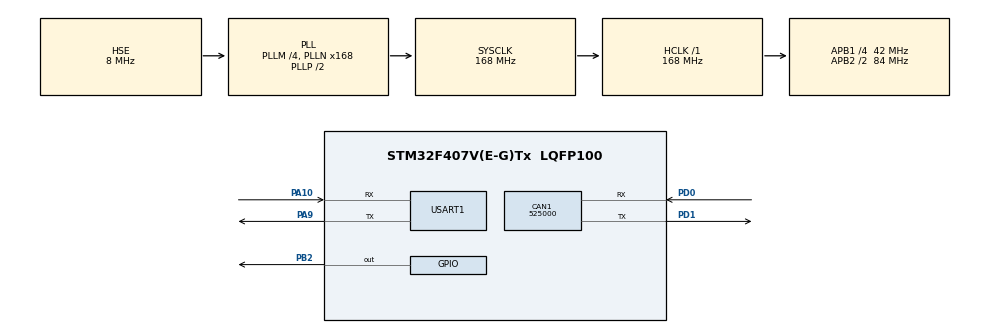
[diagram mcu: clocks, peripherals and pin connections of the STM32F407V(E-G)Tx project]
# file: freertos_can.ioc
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CAN1.AWUM=ENABLE
CAN1.BS1=CAN_BS1_2TQ
CAN1.BS2=CAN_BS2_2TQ
CAN1.CalculateBaudRate=525000
CAN1.CalculateTimeBit=1904
CAN1.CalculateTimeQuantum=380.95238095238096
CAN1.Mode=CAN_MODE_LOOPBACK
FREERTOS.Tasks01=defaultTask,0,128,StartDefaultTask,Default,NULL,Dynamic,NULL,NULL;nTaskCANSend,-2,128,TaskCANSend,Default,NULL,Dynamic,NULL,NULL;nTaskCANReceive,-1,256,TaskCANReceive,Default,TaskCANReceiveParam,Dynamic,NULL,NULL
FREERTOS.configENABLE_FPU=1
FREERTOS.configMAX_PRIORITIES=32
FREERTOS.configMAX_TASK_NAME_LEN=32
Mcu.Family=STM32F4
Mcu.Name=STM32F407V(E-G)Tx
Mcu.Package=LQFP100
NVIC.CAN1_RX0_IRQn=true\:5\:0\:false\:false\:true\:true\:true\:true\:true
NVIC.CAN1_RX1_IRQn=true\:5\:0\:false\:false\:true\:true\:true\:true\:true
NVIC.PriorityGroup=NVIC_PRIORITYGROUP_4
NVIC.TIM1_UP_TIM10_IRQn=true\:15\:0\:false\:false\:true\:false\:false\:true\:true
NVIC.TimeBase=TIM1_UP_TIM10_IRQn
NVIC.TimeBaseIP=TIM1
NVIC.USART1_IRQn=true\:5\:0\:false\:false\:true\:true\:true\:true\:true
PA10.Mode=Asynchronous
PA10.Signal=USART1_RX
PA13.Mode=Serial_Wire
PA13.Signal=SYS_JTMS-SWDIO
PA14.Mode=Serial_Wire
PA14.Signal=SYS_JTCK-SWCLK
PA9.Mode=Asynchronous
PA9.Signal=USART1_TX
PB2.Signal=GPIO_Output
PC14-OSC32_IN.Mode=LSE-External-Oscillator
PC14-OSC32_IN.Signal=RCC_OSC32_IN
PC15-OSC32_OUT.Mode=LSE-External-Oscillator
PC15-OSC32_OUT.Signal=RCC_OSC32_OUT
PD0.Mode=CAN_Activate
PD0.Signal=CAN1_RX
PD1.Mode=CAN_Activate
PD1.Signal=CAN1_TX
PH0-OSC_IN.Mode=HSE-External-Oscillator
PH0-OSC_IN.Signal=RCC_OSC_IN
PH1-OSC_OUT.Mode=HSE-External-Oscillator
PH1-OSC_OUT.Signal=RCC_OSC_OUT
ProjectManager.HeapSize=0x200
ProjectManager.StackSize=0x400
ProjectManager.TargetToolchain=MDK-ARM V5.32
RCC.48MHZClocksFreq_Value=84000000
RCC.AHBFreq_Value=168000000
RCC.APB1CLKDivider=RCC_HCLK_DIV4
RCC.APB1Freq_Value=42000000
RCC.APB1TimFreq_Value=84000000
RCC.APB2CLKDivider=RCC_HCLK_DIV2
RCC.APB2Freq_Value=84000000
RCC.APB2TimFreq_Value=168000000
RCC.CortexFreq_Value=168000000
RCC.HCLKFreq_Value=168000000
RCC.HSE_VALUE=8000000
RCC.HSI_VALUE=16000000
RCC.PLLM=4
RCC.PLLN=168
RCC.PLLSourceVirtual=RCC_PLLSOURCE_HSE
RCC.SYSCLKFreq_VALUE=168000000
RCC.SYSCLKSource=RCC_SYSCLKSOURCE_PLLCLK
RCC.VCOOutputFreq_Value=336000000
USART1.VirtualMode=VM_ASYNC
VP_FREERTOS_VS_CMSIS_V1.Mode=CMSIS_V1
VP_SYS_VS_tim1.Mode=TIM1
board=custom

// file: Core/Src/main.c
/* USER CODE BEGIN Header */
/**
  ******************************************************************************
  * @file           : main.c
  * @brief          : Main program body
  ******************************************************************************
  * @attention
  *
  * Copyright (c) 2025 STMicroelectronics.
  * All rights reserved.
  *
  * This software is licensed under terms that can be found in the LICENSE file
  * in the root directory of this software component.
  * If no LICENSE file comes with this software, it is provided AS-IS.
  *
  ******************************************************************************
  */
/* USER CODE END Header */
#include "main.h"
#include "cmsis_os.h"
#include "can.h"
#include "usart.h"
#include "gpio.h"

void SystemClock_Config(void);
void MX_FREERTOS_Init(void);

int main(void)
{

  /* MCU Configuration--------------------------------------------------------*/

  /* Reset of all peripherals, Initializes the Flash interface and the Systick. */
  HAL_Init();

  /* Configure the system clock */
  SystemClock_Config();

  /* Initialize all configured peripherals */
  MX_GPIO_Init();
  MX_USART1_UART_Init();
  MX_CAN1_Init();
  /* USER CODE BEGIN 2 */
	CAN_Filter_Mask_Config(&hcan1,0x0001,CAN_FILTER_FIFO0,0x7ff,0x7f0); //配置CAN1的过滤器掩码

	My_CAN1_Init();//初始化CAN1模块，并启动中断
	CAN_FreeRTOS_Init();

  /* USER CODE END 2 */

  /* Call init function for freertos objects (in cmsis_os2.c) */
  MX_FREERTOS_Init();

  /* Start scheduler */
  osKernelStart();

  /* We should never get here as control is now taken by the scheduler */

  /* Infinite loop */
  while (1)
  {

  }
}

void SystemClock_Config(void)
{
  RCC_OscInitTypeDef RCC_OscInitStruct = {0};
  RCC_ClkInitTypeDef RCC_ClkInitStruct = {0};

  /** Configure the main internal regulator output voltage
  */
  __HAL_RCC_PWR_CLK_ENABLE();
  __HAL_PWR_VOLTAGESCALING_CONFIG(PWR_REGULATOR_VOLTAGE_SCALE1);

  /** Initializes the RCC Oscillators according to the specified parameters
  * in the RCC_OscInitTypeDef structure.
  */
  RCC_OscInitStruct.OscillatorType = RCC_OSCILLATORTYPE_HSE;
  RCC_OscInitStruct.HSEState = RCC_HSE_ON;
  RCC_OscInitStruct.PLL.PLLState = RCC_PLL_ON;
  RCC_OscInitStruct.PLL.PLLSource = RCC_PLLSOURCE_HSE;
  RCC_OscInitStruct.PLL.PLLM = 4;
  RCC_OscInitStruct.PLL.PLLN = 168;
  RCC_OscInitStruct.PLL.PLLP = RCC_PLLP_DIV2;
  RCC_OscInitStruct.PLL.PLLQ = 4;
  if (HAL_RCC_OscConfig(&RCC_OscInitStruct) != HAL_OK)
  {
    Error_Handler();
  }

  /** Initializes the CPU, AHB and APB buses clocks
  */
  RCC_ClkInitStruct.ClockType = RCC_CLOCKTYPE_HCLK|RCC_CLOCKTYPE_SYSCLK
                              |RCC_CLOCKTYPE_PCLK1|RCC_CLOCKTYPE_PCLK2;
  RCC_ClkInitStruct.SYSCLKSource = RCC_SYSCLKSOURCE_PLLCLK;
  RCC_ClkInitStruct.AHBCLKDivider = RCC_SYSCLK_DIV1;
  RCC_ClkInitStruct.APB1CLKDivider = RCC_HCLK_DIV4;
  RCC_ClkInitStruct.APB2CLKDivider = RCC_HCLK_DIV2;

  if (HAL_RCC_ClockConfig(&RCC_ClkInitStruct, FLASH_LATENCY_5) != HAL_OK)
  {
    Error_Handler();
  }
}

void HAL_TIM_PeriodElapsedCallback(TIM_HandleTypeDef *htim)
{
  if (htim->Instance == TIM1)
  {
    HAL_IncTick();
  }
}

void Error_Handler(void)
{
  __disable_irq();
  while (1)
  {
  }
}

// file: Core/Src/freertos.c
/* USER CODE BEGIN Header */
/**
  ******************************************************************************
  * File Name          : freertos.c
  * Description        : Code for freertos applications
  ******************************************************************************
  * @attention
  *
  * Copyright (c) 2025 STMicroelectronics.
  * All rights reserved.
  *
  * This software is licensed under terms that can be found in the LICENSE file
  * in the root directory of this software component.
  * If no LICENSE file comes with this software, it is provided AS-IS.
  *
  ******************************************************************************
  */
/* USER CODE END Header */

#include "FreeRTOS.h"
#include "task.h"
#include "main.h"
#include "cmsis_os.h"

/* USER CODE BEGIN Includes */
#include "can.h"
#include "stdio.h"
/* USER CODE END Includes */

osThreadId defaultTaskHandle;
osThreadId nTaskCANSendHandle;
osThreadId nTaskCANReceiveHandle;

void StartDefaultTask(void const * argument);
void TaskCANSend(void const * argument);
void TaskCANReceive(void const * argument);

void MX_FREERTOS_Init(void); /* (MISRA C 2004 rule 8.1) */

/* GetIdleTaskMemory prototype (linked to static allocation support) */
void vApplicationGetIdleTaskMemory( StaticTask_t **ppxIdleTaskTCBBuffer, StackType_t **ppxIdleTaskStackBuffer, uint32_t *pulIdleTaskStackSize );

/* USER CODE BEGIN GET_IDLE_TASK_MEMORY */
static StaticTask_t xIdleTaskTCBBuffer;
static StackType_t xIdleStack[configMINIMAL_STACK_SIZE];

void vApplicationGetIdleTaskMemory( StaticTask_t **ppxIdleTaskTCBBuffer, StackType_t **ppxIdleTaskStackBuffer, uint32_t *pulIdleTaskStackSize )
{
  *ppxIdleTaskTCBBuffer = &xIdleTaskTCBBuffer;
  *ppxIdleTaskStackBuffer = &xIdleStack[0];
  *pulIdleTaskStackSize = configMINIMAL_STACK_SIZE;
  /* place for user code */
}
/* USER CODE END GET_IDLE_TASK_MEMORY */

void MX_FREERTOS_Init(void) {

  /* Create the thread(s) */
  /* definition and creation of defaultTask */
  osThreadDef(defaultTask, StartDefaultTask, osPriorityNormal, 0, 128);
  defaultTaskHandle = osThreadCreate(osThread(defaultTask), NULL);

  /* definition and creation of nTaskCANSend */
  osThreadDef(nTaskCANSend, TaskCANSend, osPriorityLow, 0, 128);
  nTaskCANSendHandle = osThreadCreate(osThread(nTaskCANSend), NULL);

  /* definition and creation of nTaskCANReceive */
  osThreadDef(nTaskCANReceive, TaskCANReceive, osPriorityBelowNormal, 0, 256);
  nTaskCANReceiveHandle = osThreadCreate(osThread(nTaskCANReceive), (void*) &TaskCANReceiveParam);

}

void StartDefaultTask(void const * argument)
{
  for(;;)
  {
    osDelay(1);
  }
}

void TaskCANSend(void const * argument)
{
  /* USER CODE BEGIN TaskCANSend */
  /* Infinite loop */
  for(;;)
  {
     // 在这里添加 CAN 发送代码，例如：
    uint8_t sendData[8] = {0x01, 0x02, 0x03, 0x04, 0x05, 0x06, 0x07, 0x08};
		if(My_CAN_Send_Data(&hcan1, 0x7f1, sendData, 8)) // 调用你自己的 CAN 发送函数
		{
			printf("发送失败%d",1);
		}
		GPIOB->ODR|=0x04;
    osDelay(500); // 延时 1 秒，控制发送频率
		GPIOB->ODR&=~(0x04);
		osDelay(500); // 延时 1 秒，控制发送频率
  }
  /* USER CODE END TaskCANSend */
}

void TaskCANReceive(void const * argument)
{
  /* USER CODE BEGIN TaskCANReceive */
  TaskCANReceive_t *can_r_param = (TaskCANReceive_t*)argument;
  static CanRxFrame_t RxData;
  /* Infinite loop */
  for(;;)
  {
    if(xSemaphoreTake(can_r_param->Semaphore, portMAX_DELAY) == pdPASS)
    {
      xMessageBufferReceive(
          can_r_param->MsgBuf,
          &RxData,
          sizeof(CanRxFrame_t),
          pdMS_TO_TICKS(10)
        );
        printf("CAN Rx: ID = 0x%X, Len = %d\n", RxData.ID, RxData.Length);
    }
    osDelay(1);
  }
  /* USER CODE END TaskCANReceive */
}
